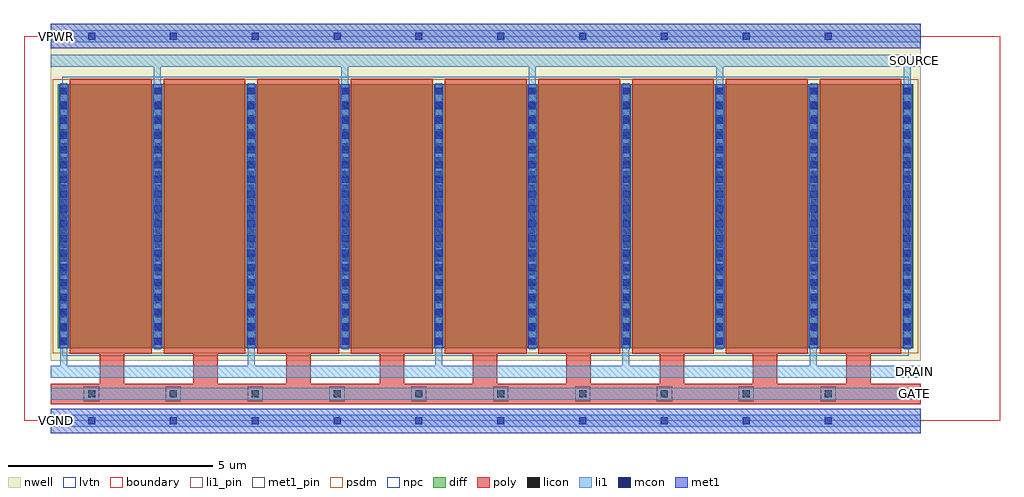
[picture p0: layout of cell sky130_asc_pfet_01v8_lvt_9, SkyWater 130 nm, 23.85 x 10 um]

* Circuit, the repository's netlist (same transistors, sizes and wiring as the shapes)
* NGSPICE file created from sky130_asc_pfet_01v8_lvt_9.ext - technology: sky130A

.subckt sky130_asc_pfet_01v8_lvt_9 GATE SOURCE DRAIN VGND VPWR
X0 SOURCE GATE DRAIN VPWR sky130_fd_pr__pfet_01v8_lvt ad=9.3525e+12p pd=6.74e+07u as=9.3525e+12p ps=6.74e+07u w=6.45e+06u l=2e+06u
X1 DRAIN GATE SOURCE VPWR sky130_fd_pr__pfet_01v8_lvt ad=0p pd=0u as=0p ps=0u w=6.45e+06u l=2e+06u
X2 SOURCE GATE DRAIN VPWR sky130_fd_pr__pfet_01v8_lvt ad=0p pd=0u as=0p ps=0u w=6.45e+06u l=2e+06u
X3 SOURCE GATE DRAIN VPWR sky130_fd_pr__pfet_01v8_lvt ad=0p pd=0u as=0p ps=0u w=6.45e+06u l=2e+06u
X4 SOURCE GATE DRAIN VPWR sky130_fd_pr__pfet_01v8_lvt ad=0p pd=0u as=0p ps=0u w=6.45e+06u l=2e+06u
X5 DRAIN GATE SOURCE VPWR sky130_fd_pr__pfet_01v8_lvt ad=0p pd=0u as=0p ps=0u w=6.45e+06u l=2e+06u
X6 DRAIN GATE SOURCE VPWR sky130_fd_pr__pfet_01v8_lvt ad=0p pd=0u as=0p ps=0u w=6.45e+06u l=2e+06u
X7 SOURCE GATE DRAIN VPWR sky130_fd_pr__pfet_01v8_lvt ad=0p pd=0u as=0p ps=0u w=6.45e+06u l=2e+06u
X8 DRAIN GATE SOURCE VPWR sky130_fd_pr__pfet_01v8_lvt ad=0p pd=0u as=0p ps=0u w=6.45e+06u l=2e+06u
.ends

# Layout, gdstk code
import gdstk
lib = gdstk.Library(unit=1e-6, precision=1e-09)
def R(c, l, rs):  # rectangles x0, y0, x1, y1
    for r in rs: c.add(gdstk.rectangle(r[:2], r[2:], *l))
def A(c, l, x, y, w, h, nx, ny, dx, dy):  # array of equal rectangles
    R(c, l, [(x+i*dx, y+j*dy, x+i*dx+w, y+j*dy+h) for i in range(nx) for j in range(ny)])
nwell = (64, 20)
diff = (65, 20)
poly = (66, 20)
licon = (66, 44)
li1_pin = (67, 16)
li1 = (67, 20)
mcon = (67, 44)
met1_pin = (68, 16)
met1 = (68, 20)
psdm = (94, 20)
npc = (95, 20)
lvtn = (125, 44)
boundary = (235, 4)

sky130_asc_pfet_01v8_lvt = lib.new_cell('sky130_asc_pfet_01v8_lvt_9')
R(sky130_asc_pfet_01v8_lvt, nwell, [(0.65,1.465,21.91,9.7)])
R(sky130_asc_pfet_01v8_lvt, diff, [(0.83,1.775,21.73,8.225)])
A(sky130_asc_pfet_01v8_lvt, poly, 1.85, 0.91, 0.6, 0.735, 9, 1, 2.28, 0)
A(sky130_asc_pfet_01v8_lvt, poly, 1.12, 1.645, 2, 6.71, 9, 1, 2.29, 0)
R(sky130_asc_pfet_01v8_lvt, poly, [(0.65,0.41,21.91,0.91)])
A(sky130_asc_pfet_01v8_lvt, licon, 1.565, 0.575, 0.17, 0.17, 10, 1, 2, 0)
A(sky130_asc_pfet_01v8_lvt, licon, 0.89, 1.855, 0.17, 0.17, 10, 19, 2.29, 0.34)
R(sky130_asc_pfet_01v8_lvt, li1_pin, [(21.61,0.51,21.91,0.81), (21.61,1.05,21.91,1.35), (21.61,8.65,21.91,8.95)])
A(sky130_asc_pfet_01v8_lvt, li1, 0.885, 1.35, 0.17, 0.405, 5, 1, 4.58, 0)
A(sky130_asc_pfet_01v8_lvt, li1, 0.885, 1.755, 0.175, 0.105, 5, 1, 4.58, 0)
A(sky130_asc_pfet_01v8_lvt, li1, 3.18, 1.755, 0.17, 6.375, 5, 1, 4.58, 0)
A(sky130_asc_pfet_01v8_lvt, li1, 0.89, 1.86, 0.17, 6.385, 5, 1, 4.58, 0)
A(sky130_asc_pfet_01v8_lvt, li1, 3.175, 8.13, 0.175, 0.115, 5, 1, 4.58, 0)
A(sky130_asc_pfet_01v8_lvt, li1, 3.175, 8.245, 0.17, 0.405, 5, 1, 4.58, 0)
R(sky130_asc_pfet_01v8_lvt, li1, [(0.65,-0.15,21.91,0.15), (0.65,0.51,21.91,0.81), (0.65,1.05,21.91,1.35), (0.65,8.65,21.91,8.95), (0.65,9.25,21.91,9.55)])
A(sky130_asc_pfet_01v8_lvt, mcon, 1.565, -0.085, 0.17, 0.17, 10, 2, 2, 9.4)
A(sky130_asc_pfet_01v8_lvt, mcon, 0.89, 1.855, 0.17, 0.17, 10, 18, 2.29, 0.36)
R(sky130_asc_pfet_01v8_lvt, met1_pin, [(0.65,-0.15,0.95,0.15), (0.65,9.25,0.95,9.55)])
A(sky130_asc_pfet_01v8_lvt, met1, 0.86, 1.775, 0.23, 6.45, 10, 1, 2.29, 0)
R(sky130_asc_pfet_01v8_lvt, met1, [(0.65,-0.3,21.91,0.3), (0.65,9.1,21.91,9.7)])
R(sky130_asc_pfet_01v8_lvt, psdm, [(0.705,1.65,21.855,8.35)])
A(sky130_asc_pfet_01v8_lvt, npc, 1.465, 0.475, 0.37, 0.37, 10, 1, 2, 0)
R(sky130_asc_pfet_01v8_lvt, lvtn, [(0.94,1.595,21.62,8.405)])
R(sky130_asc_pfet_01v8_lvt, boundary, [(0,0,23.85,9.4)])
sky130_asc_pfet_01v8_lvt.add(gdstk.Label('GATE', (21.76,0.66), layer=67, texttype=16))
sky130_asc_pfet_01v8_lvt.add(gdstk.Label('SOURCE', (21.76,8.8), layer=67, texttype=16))
sky130_asc_pfet_01v8_lvt.add(gdstk.Label('DRAIN', (21.76,1.2), layer=67, texttype=16))
sky130_asc_pfet_01v8_lvt.add(gdstk.Label('VPWR', (0.8,9.4), layer=68, texttype=16))
sky130_asc_pfet_01v8_lvt.add(gdstk.Label('VGND', (0.8,0), layer=68, texttype=16))

lib.write_gds('sky130_asc_pfet_01v8_lvt_9.gds')
